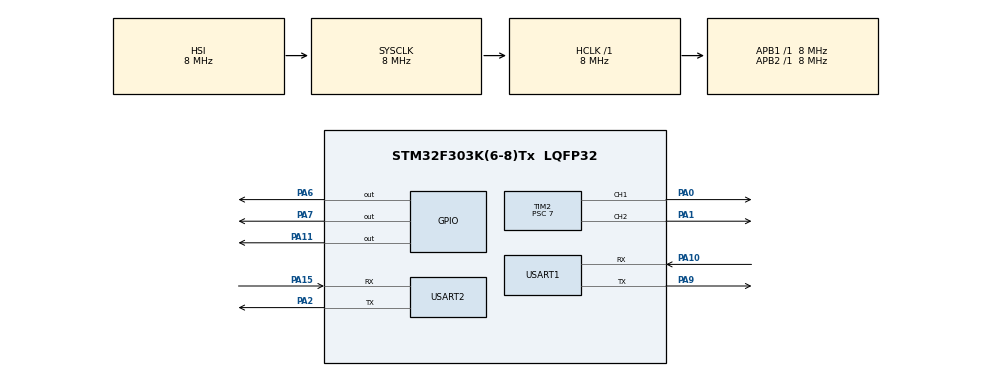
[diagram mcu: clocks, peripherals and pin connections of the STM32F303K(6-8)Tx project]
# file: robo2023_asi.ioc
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Mcu.Family=STM32F3
Mcu.Name=STM32F303K(6-8)Tx
Mcu.Package=LQFP32
NVIC.PriorityGroup=NVIC_PRIORITYGROUP_1
NVIC.USART1_IRQn=true\:0\:0\:false\:false\:true\:true\:true\:true
NVIC.USART2_IRQn=true\:0\:0\:false\:false\:true\:true\:true\:true
PA0.Signal=S_TIM2_CH1_ETR
PA1.Signal=S_TIM2_CH2
PA10.Mode=Asynchronous
PA10.Signal=USART1_RX
PA11.Signal=GPIO_Output
PA13.GPIO_Label=SWDIO
PA13.Mode=Serial_Wire
PA13.Signal=SYS_JTMS-SWDIO
PA14.GPIO_Label=SWCLK
PA14.Mode=Serial_Wire
PA14.Signal=SYS_JTCK-SWCLK
PA15.Mode=Asynchronous
PA15.Signal=USART2_RX
PA2.Mode=Asynchronous
PA2.Signal=USART2_TX
PA6.Signal=GPIO_Output
PA7.Signal=GPIO_Output
PA9.Mode=Asynchronous
PA9.Signal=USART1_TX
PB6.Signal=I2C1_SCL
PB7.Signal=I2C1_SDA
PF0\ /\ OSC_IN.GPIO_Label=MCO
PF0\ /\ OSC_IN.Mode=HSE-External-Clock-Source
PF0\ /\ OSC_IN.Signal=RCC_OSC_IN
ProjectManager.HeapSize=0x200
ProjectManager.StackSize=0x400
ProjectManager.TargetToolchain=STM32CubeIDE
RCC.AHBFreq_Value=8000000
RCC.APB1Freq_Value=8000000
RCC.APB2Freq_Value=8000000
RCC.CortexFreq_Value=8000000
RCC.HSE_VALUE=8000000
RCC.HSI_VALUE=8000000
RCC.PLLSourceVirtual=RCC_PLLSOURCE_HSE
RCC.SYSCLKFreq_VALUE=8000000
SH.S_TIM2_CH1_ETR.0=TIM2_CH1,PWM Generation1 CH1
SH.S_TIM2_CH2.0=TIM2_CH2,PWM Generation2 CH2
TIM2.Channel-PWM\ Generation1\ CH1=TIM_CHANNEL_1
TIM2.Channel-PWM\ Generation2\ CH2=TIM_CHANNEL_2
TIM2.Period=999
TIM2.Prescaler=7
USART1.VirtualMode-Asynchronous=VM_ASYNC
USART2.VirtualMode-Asynchronous=VM_ASYNC
board=NUCLEO-F303K8

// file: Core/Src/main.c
/* USER CODE BEGIN Header */
/**
  ******************************************************************************
  * @file           : main.c
  * @brief          : Main program body
  ******************************************************************************
  * @attention
  *
  * Copyright (c) 2023 STMicroelectronics.
  * All rights reserved.
  *
  * This software is licensed under terms that can be found in the LICENSE file
  * in the root directory of this software component.
  * If no LICENSE file comes with this software, it is provided AS-IS.
  *
  ******************************************************************************
  */
/* USER CODE END Header */
#include "main.h"

/* USER CODE BEGIN Includes */
#include <stdio.h>
#include <string.h>
#include <stdlib.h>
#include <math.h>
/* USER CODE END Includes */

TIM_HandleTypeDef htim2;

UART_HandleTypeDef huart1;
UART_HandleTypeDef huart2;

void SystemClock_Config(void);
static void MX_GPIO_Init(void);
static void MX_TIM2_Init(void);
static void MX_USART1_UART_Init(void);
static void MX_USART2_UART_Init(void);

/* USER CODE BEGIN 0 */

#define RX_BUFFER_SIZE 64
uint8_t rxBuffer[RX_BUFFER_SIZE];
uint32_t rxIndex = 0;
char string[RX_BUFFER_SIZE];

void copy()
{
	for(int i=0;i<RX_BUFFER_SIZE;i++)
	{
		string[i]=rxBuffer[i];
	}
}

void HAL_UART_RxCpltCallback(UART_HandleTypeDef *huart)
{
  if (huart == &huart1)
  {
	  // 受信割り込み処理
	  if (rxBuffer[rxIndex - 1] == '\r')
	  {
		  // 改行が受信された場合、受信した文字列を処理
		  rxBuffer[rxIndex] = '\0';
		  //HAL_UART_Transmit(&huart2, rxBuffer, rxIndex, HAL_MAX_DELAY);
		  copy(); //バッファから受け取った文字列をコピー
		  rxIndex = 0;
		  memset(rxBuffer, '\0', RX_BUFFER_SIZE); //バッファをクリア
	  }
	  //割り込みで受信
	  HAL_UART_Receive_IT(&huart1, &rxBuffer[rxIndex], 1);
	  rxIndex++;
  }
}

/* USER CODE END 0 */

int main(void)
{
  /* USER CODE BEGIN 1 */
	int i,j=0;
	float r=0,arg=0;
	int dash,above,gather;
	char moji[RX_BUFFER_SIZE];
	char test[32];
	char w1[7],w2[7],w3[2],w4[2],w5[3];

	int reset;
	char check[RX_BUFFER_SIZE];
	memset(check,'\0',RX_BUFFER_SIZE);

	float x=0.0,y=0.0;
	float spd=0.0,rad=0.0;
	int T=0;
  /* USER CODE END 1 */

  /* MCU Configuration--------------------------------------------------------*/

  /* Reset of all peripherals, Initializes the Flash interface and the Systick. */
  HAL_Init();

  /* Configure the system clock */
  SystemClock_Config();

  /* Initialize all configured peripherals */
  MX_GPIO_Init();
  MX_TIM2_Init();
  MX_USART1_UART_Init();
  MX_USART2_UART_Init();
  /* USER CODE BEGIN 2 */
  if(HAL_TIM_PWM_Start(&htim2,TIM_CHANNEL_1) != HAL_OK){Error_Handler();}
  if(HAL_TIM_PWM_Start(&htim2,TIM_CHANNEL_2) != HAL_OK){Error_Handler();}
  HAL_GPIO_WritePin(GPIOA,GPIO_PIN_6,GPIO_PIN_RESET);
  HAL_GPIO_WritePin(GPIOA,GPIO_PIN_7,GPIO_PIN_RESET);
  __HAL_TIM_SET_COMPARE(&htim2,TIM_CHANNEL_1,0);
  __HAL_TIM_SET_COMPARE(&htim2,TIM_CHANNEL_2,0);

  HAL_UART_Receive_IT(&huart1, rxBuffer, 1);
  /* USER CODE END 2 */

  /* Infinite loop */
  /* USER CODE BEGIN WHILE */
  while (1)
  {

	  //文字列の初期化
	  memset(moji,'\0',RX_BUFFER_SIZE);
	  memset(test,'\0',32);
	  memset(w1,'\0',7);
	  memset(w2,'\0',7);
	  memset(w3,'\0',2);
	  memset(w4,'\0',2);
	  memset(w5,'\0',3);
	  //通信を開始
	  HAL_UART_Receive_IT(&huart1, rxBuffer, 1);
	  //受信した文字列の整理
	  for(i=0;i<RX_BUFFER_SIZE;i++)//
	  {
		  moji[j]=string[i];
		  if(moji[j] == '\r')
		  {
			  j=0;
			  break;
		  }
		  else if(moji[j] != '\0')
		  {
			  j++;
		  }
	  }
	  //整理した文字列を変数に格納
	  for(i=0;i<6;i++)
	  {
		  w1[i]=moji[2+i];
		  w2[i]=moji[13+i];
	  }
	  w3[0]=moji[25];
	  w4[0]=moji[33];
	  for(i=0;i<2;i++)
	  {
		  w5[i]=moji[42+i];
	  }
	  r = atoff(w1);
	  arg = atoff(w2);
	  dash = atoi(w3);
	  above = atoi(w4);
	  gather = atoi(w5);

	  //ここから実際の処理

	  //文字列の受信の確認
	  //snprintf(test,32,"%6.1f,%6.1f,%d,%d,%2d\n\r",r,arg,dash,above,gather);
	  //HAL_UART_Transmit(&huart2, (uint8_t*)test, 32,HAL_MAX_DELAY);
	  //HAL_UART_Transmit(&huart2, (uint8_t*)moji, RX_BUFFER_SIZE,HAL_MAX_DELAY);
	  //HAL_UART_Transmit(&huart2, (uint8_t*)w5, 3, HAL_MAX_DELAY);
    /* USER CODE END WHILE */

    /* USER CODE BEGIN 3 */
	rad = arg*(M_PI/180.0);
	x=r*cos(rad);
	y=r*sin(rad);
	if(isfinite(r)==0||r>1600)
	{
		r=1600;
	}
	//b=dash;

	snprintf(test,32,"%7.1f,%7.1f,%6.1f,%d,%d\n\r",r,spd,arg,dash,T);
	HAL_UART_Transmit(&huart2, (uint8_t*)test, 32,HAL_MAX_DELAY);

	//ダッシュボタンの処理
	dash++;
	if(dash==2)
	{
		spd=r/1.5;
		if(spd>=1000)
		{
			spd=999;
		}
	}
	else
	{
		spd=r/2;
	}

	if((113.0 >= arg) && (arg >= 68.0) && (r>100.0)){
		HAL_GPIO_WritePin(GPIOA,GPIO_PIN_6,GPIO_PIN_RESET);
		HAL_GPIO_WritePin(GPIOA,GPIO_PIN_7,GPIO_PIN_SET);
		__HAL_TIM_SET_COMPARE(&htim2,TIM_CHANNEL_1,spd);
		__HAL_TIM_SET_COMPARE(&htim2,TIM_CHANNEL_2,spd);
		T=1;
	}//pattern1/front
	else if((68.0 >= arg) && (arg >= 23.0) && (r>100.0)){
		HAL_GPIO_WritePin(GPIOA,GPIO_PIN_6,GPIO_PIN_RESET);
		HAL_GPIO_WritePin(GPIOA,GPIO_PIN_7,GPIO_PIN_SET);
		__HAL_TIM_SET_COMPARE(&htim2,TIM_CHANNEL_1,spd);
		__HAL_TIM_SET_COMPARE(&htim2,TIM_CHANNEL_2,spd/2);
		T=2;
	}//pattern2/front right
	else if((23.0 >= arg) && (arg >= -22.0) && (r>100.0)){
		HAL_GPIO_WritePin(GPIOA,GPIO_PIN_6,GPIO_PIN_RESET);
		HAL_GPIO_WritePin(GPIOA,GPIO_PIN_7,GPIO_PIN_RESET);
		__HAL_TIM_SET_COMPARE(&htim2,TIM_CHANNEL_1,spd/3);
		__HAL_TIM_SET_COMPARE(&htim2,TIM_CHANNEL_2,spd/3);
		T=3;
	}//pattern3/right rotation
	else if((-22.0 >= arg) && (arg >= -67.0) && (r>100.0)){
		HAL_GPIO_WritePin(GPIOA,GPIO_PIN_6,GPIO_PIN_SET);
		HAL_GPIO_WritePin(GPIOA,GPIO_PIN_7,GPIO_PIN_RESET);
		__HAL_TIM_SET_COMPARE(&htim2,TIM_CHANNEL_1,spd);
		__HAL_TIM_SET_COMPARE(&htim2,TIM_CHANNEL_2,spd/2);
		T=4;
	}//pattern4/back right
	else if((-67.0 >= arg) && (arg >= -112.0) && (r>100.0)){
		HAL_GPIO_WritePin(GPIOA,GPIO_PIN_6,GPIO_PIN_SET);
		HAL_GPIO_WritePin(GPIOA,GPIO_PIN_7,GPIO_PIN_RESET);
		__HAL_TIM_SET_COMPARE(&htim2,TIM_CHANNEL_1,spd);
		__HAL_TIM_SET_COMPARE(&htim2,TIM_CHANNEL_2,spd);
		T=5;
	}//pattern5/back
	else if((-112.0 >= arg) && (arg >= -157.0) && (r>100.0)){
		HAL_GPIO_WritePin(GPIOA,GPIO_PIN_6,GPIO_PIN_SET);
		HAL_GPIO_WritePin(GPIOA,GPIO_PIN_7,GPIO_PIN_RESET);
		__HAL_TIM_SET_COMPARE(&htim2,TIM_CHANNEL_1,spd/2);
		__HAL_TIM_SET_COMPARE(&htim2,TIM_CHANNEL_2,spd);
		T=6;
	}//pattern6/back left
	else if(((158.0 <= arg) || (arg <= -157.0)) && (r>100.0)){
		HAL_GPIO_WritePin(GPIOA,GPIO_PIN_6,GPIO_PIN_SET);
		HAL_GPIO_WritePin(GPIOA,GPIO_PIN_7,GPIO_PIN_SET);
		__HAL_TIM_SET_COMPARE(&htim2,TIM_CHANNEL_1,spd/3);
		__HAL_TIM_SET_COMPARE(&htim2,TIM_CHANNEL_2,spd/3);
		T=7;
	}//pattern7/left rotation
	else if((158.0 >= arg) && (arg >= 113.0) && (r>100.0)){
		HAL_GPIO_WritePin(GPIOA,GPIO_PIN_6,GPIO_PIN_RESET);
		HAL_GPIO_WritePin(GPIOA,GPIO_PIN_7,GPIO_PIN_SET);
		__HAL_TIM_SET_COMPARE(&htim2,TIM_CHANNEL_1,spd/2);
		__HAL_TIM_SET_COMPARE(&htim2,TIM_CHANNEL_2,spd);
		T=8;
	}//pattern8/front left
	else{
		HAL_GPIO_WritePin(GPIOA,GPIO_PIN_6,GPIO_PIN_SET);
		HAL_GPIO_WritePin(GPIOA,GPIO_PIN_7,GPIO_PIN_RESET);
		__HAL_TIM_SET_COMPARE(&htim2,TIM_CHANNEL_1,0);
		__HAL_TIM_SET_COMPARE(&htim2,TIM_CHANNEL_2,0);
		T=0;
	}

	  //文字列バッファのリセット処理
	  if(strcmp(moji,check)==0)
	  {
		  reset++;
	  }
	  else
	  {
		  reset=0;
		  memset(check,'\0',RX_BUFFER_SIZE);
	  }
	  if(reset>=25)
	  {
		  HAL_GPIO_WritePin(GPIOA, GPIO_PIN_11, GPIO_PIN_RESET);
		  memset(string,'\0',RX_BUFFER_SIZE);
	  }
	  else
	  {
		  HAL_GPIO_WritePin(GPIOA, GPIO_PIN_11, GPIO_PIN_SET);
	  }
	  strcpy(check,moji);
  }

  HAL_Delay(10);
  /* USER CODE END 3 */
}

void SystemClock_Config(void)
{
  RCC_OscInitTypeDef RCC_OscInitStruct = {0};
  RCC_ClkInitTypeDef RCC_ClkInitStruct = {0};
  RCC_PeriphCLKInitTypeDef PeriphClkInit = {0};

  /** Initializes the RCC Oscillators according to the specified parameters
  * in the RCC_OscInitTypeDef structure.
  */
  RCC_OscInitStruct.OscillatorType = RCC_OSCILLATORTYPE_HSI;
  RCC_OscInitStruct.HSIState = RCC_HSI_ON;
  RCC_OscInitStruct.HSICalibrationValue = RCC_HSICALIBRATION_DEFAULT;
  RCC_OscInitStruct.PLL.PLLState = RCC_PLL_NONE;
  if (HAL_RCC_OscConfig(&RCC_OscInitStruct) != HAL_OK)
  {
    Error_Handler();
  }

  /** Initializes the CPU, AHB and APB buses clocks
  */
  RCC_ClkInitStruct.ClockType = RCC_CLOCKTYPE_HCLK|RCC_CLOCKTYPE_SYSCLK
                              |RCC_CLOCKTYPE_PCLK1|RCC_CLOCKTYPE_PCLK2;
  RCC_ClkInitStruct.SYSCLKSource = RCC_SYSCLKSOURCE_HSI;
  RCC_ClkInitStruct.AHBCLKDivider = RCC_SYSCLK_DIV1;
  RCC_ClkInitStruct.APB1CLKDivider = RCC_HCLK_DIV1;
  RCC_ClkInitStruct.APB2CLKDivider = RCC_HCLK_DIV1;

  if (HAL_RCC_ClockConfig(&RCC_ClkInitStruct, FLASH_LATENCY_0) != HAL_OK)
  {
    Error_Handler();
  }
  PeriphClkInit.PeriphClockSelection = RCC_PERIPHCLK_USART1;
  PeriphClkInit.Usart1ClockSelection = RCC_USART1CLKSOURCE_PCLK1;
  if (HAL_RCCEx_PeriphCLKConfig(&PeriphClkInit) != HAL_OK)
  {
    Error_Handler();
  }
}

static void MX_TIM2_Init(void)
{

  TIM_MasterConfigTypeDef sMasterConfig = {0};
  TIM_OC_InitTypeDef sConfigOC = {0};

  htim2.Instance = TIM2;
  htim2.Init.Prescaler = 7;
  htim2.Init.CounterMode = TIM_COUNTERMODE_UP;
  htim2.Init.Period = 999;
  htim2.Init.ClockDivision = TIM_CLOCKDIVISION_DIV1;
  htim2.Init.AutoReloadPreload = TIM_AUTORELOAD_PRELOAD_DISABLE;
  if (HAL_TIM_PWM_Init(&htim2) != HAL_OK)
  {
    Error_Handler();
  }
  sMasterConfig.MasterOutputTrigger = TIM_TRGO_RESET;
  sMasterConfig.MasterSlaveMode = TIM_MASTERSLAVEMODE_DISABLE;
  if (HAL_TIMEx_MasterConfigSynchronization(&htim2, &sMasterConfig) != HAL_OK)
  {
    Error_Handler();
  }
  sConfigOC.OCMode = TIM_OCMODE_PWM1;
  sConfigOC.Pulse = 0;
  sConfigOC.OCPolarity = TIM_OCPOLARITY_HIGH;
  sConfigOC.OCFastMode = TIM_OCFAST_DISABLE;
  if (HAL_TIM_PWM_ConfigChannel(&htim2, &sConfigOC, TIM_CHANNEL_1) != HAL_OK)
  {
    Error_Handler();
  }
  if (HAL_TIM_PWM_ConfigChannel(&htim2, &sConfigOC, TIM_CHANNEL_2) != HAL_OK)
  {
    Error_Handler();
  }
  HAL_TIM_MspPostInit(&htim2);

}

static void MX_USART1_UART_Init(void)
{

  huart1.Instance = USART1;
  huart1.Init.BaudRate = 38400;
  huart1.Init.WordLength = UART_WORDLENGTH_8B;
  huart1.Init.StopBits = UART_STOPBITS_1;
  huart1.Init.Parity = UART_PARITY_NONE;
  huart1.Init.Mode = UART_MODE_TX_RX;
  huart1.Init.HwFlowCtl = UART_HWCONTROL_NONE;
  huart1.Init.OverSampling = UART_OVERSAMPLING_16;
  huart1.Init.OneBitSampling = UART_ONE_BIT_SAMPLE_DISABLE;
  huart1.AdvancedInit.AdvFeatureInit = UART_ADVFEATURE_NO_INIT;
  if (HAL_UART_Init(&huart1) != HAL_OK)
  {
    Error_Handler();
  }

}

static void MX_USART2_UART_Init(void)
{

  huart2.Instance = USART2;
  huart2.Init.BaudRate = 38400;
  huart2.Init.WordLength = UART_WORDLENGTH_8B;
  huart2.Init.StopBits = UART_STOPBITS_1;
  huart2.Init.Parity = UART_PARITY_NONE;
  huart2.Init.Mode = UART_MODE_TX_RX;
  huart2.Init.HwFlowCtl = UART_HWCONTROL_NONE;
  huart2.Init.OverSampling = UART_OVERSAMPLING_16;
  huart2.Init.OneBitSampling = UART_ONE_BIT_SAMPLE_DISABLE;
  huart2.AdvancedInit.AdvFeatureInit = UART_ADVFEATURE_NO_INIT;
  if (HAL_UART_Init(&huart2) != HAL_OK)
  {
    Error_Handler();
  }

}

static void MX_GPIO_Init(void)
{
  GPIO_InitTypeDef GPIO_InitStruct = {0};

  /* GPIO Ports Clock Enable */
  __HAL_RCC_GPIOF_CLK_ENABLE();
  __HAL_RCC_GPIOA_CLK_ENABLE();
  __HAL_RCC_GPIOB_CLK_ENABLE();

  /*Configure GPIO pin Output Level */
  HAL_GPIO_WritePin(GPIOA, GPIO_PIN_6|GPIO_PIN_7|GPIO_PIN_11, GPIO_PIN_RESET);

  /*Configure GPIO pins : PA6 PA7 PA11 */
  GPIO_InitStruct.Pin = GPIO_PIN_6|GPIO_PIN_7|GPIO_PIN_11;
  GPIO_InitStruct.Mode = GPIO_MODE_OUTPUT_PP;
  GPIO_InitStruct.Pull = GPIO_NOPULL;
  GPIO_InitStruct.Speed = GPIO_SPEED_FREQ_LOW;
  HAL_GPIO_Init(GPIOA, &GPIO_InitStruct);

  /*Configure GPIO pins : PB6 PB7 */
  GPIO_InitStruct.Pin = GPIO_PIN_6|GPIO_PIN_7;
  GPIO_InitStruct.Mode = GPIO_MODE_AF_OD;
  GPIO_InitStruct.Pull = GPIO_NOPULL;
  GPIO_InitStruct.Speed = GPIO_SPEED_FREQ_HIGH;
  GPIO_InitStruct.Alternate = GPIO_AF4_I2C1;
  HAL_GPIO_Init(GPIOB, &GPIO_InitStruct);

}

void Error_Handler(void)
{
  __disable_irq();
  while (1)
  {
  }
}
